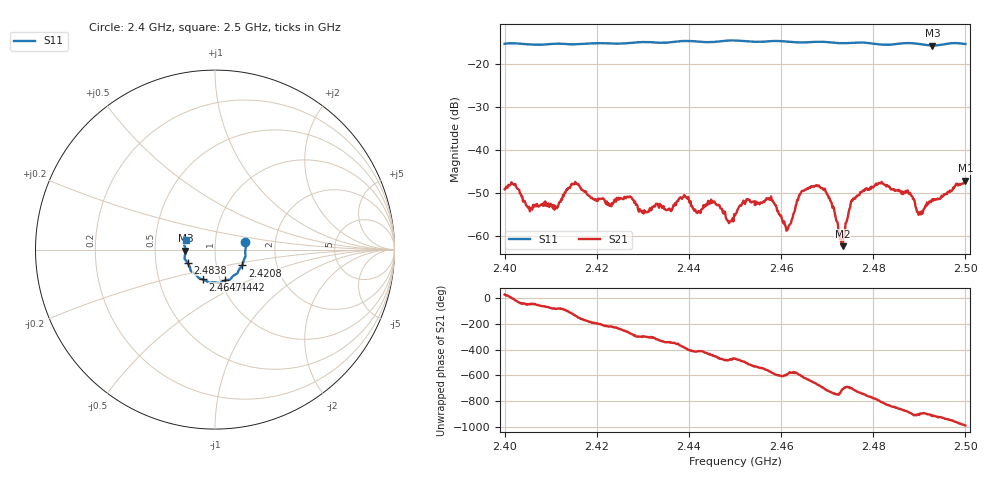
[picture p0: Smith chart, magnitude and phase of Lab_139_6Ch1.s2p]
# Hz S RI R 50
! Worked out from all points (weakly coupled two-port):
!   601 points, 2.4 GHz to 2.5 GHz, reference 50 ohm
!   highest |S21| = -47.06 dB at 2.5 GHz (marker M1); lowest = -62.3 dB at 2.4733 GHz (marker M2)
!   lowest |S11| = -15.6 dB at 2.4928 GHz (marker M3), VSWR 1.40, Z = 35.8 - j0.43 ohm
!   |S11| at or under -10 dB: start of sweep to end of sweep
!   S12 and S22 are empty: the file has one direction only
!   S11 on the Smith chart (normalised r, x): 2.4 GHz: 1.40, +0.12; 2.4208 GHz: 1.33, -0.24; 2.4442 GHz: 1.05, -0.37; 2.4647 GHz: 0.83, -0.29; 2.4838 GHz: 0.73, -0.11; 2.5 GHz: 0.71, +0.07
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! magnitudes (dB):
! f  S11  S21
! 2.4 GHz  -15.2  -49.1
! 2.402 GHz  -15.1  -48.1
! 2.4055 GHz  -15.4  -54.2
! 2.4167 GHz  -15.3  -49.2
! 2.4208 GHz  -15.1  -51.3
! 2.4333 GHz  -15.0  -52.8
! 2.4442 GHz  -14.9  -51.8
! 2.45 GHz  -14.5  -55.2
! 2.4523 GHz  -14.6  -52.0
! 2.4573 GHz  -14.7  -51.5
! 2.4615 GHz  -14.7  -58.3
! 2.4647 GHz  -14.9  -49.4
! 2.4667 GHz  -14.8  -48.5
! 2.47 GHz  -14.8  -50.3
! 2.4733 GHz  -15.1  -62.3
! 2.4757 GHz  -15.0  -51.2
! 2.4833 GHz  -15.5  -48.5
! 2.4838 GHz  -15.4  -49.1
! 2.4877 GHz  -15.1  -50.1
! 2.4902 GHz  -15.3  -54.4
! 2.4928 GHz  -15.6  -51.4
! 2.5 GHz  -15.3  -47.1
